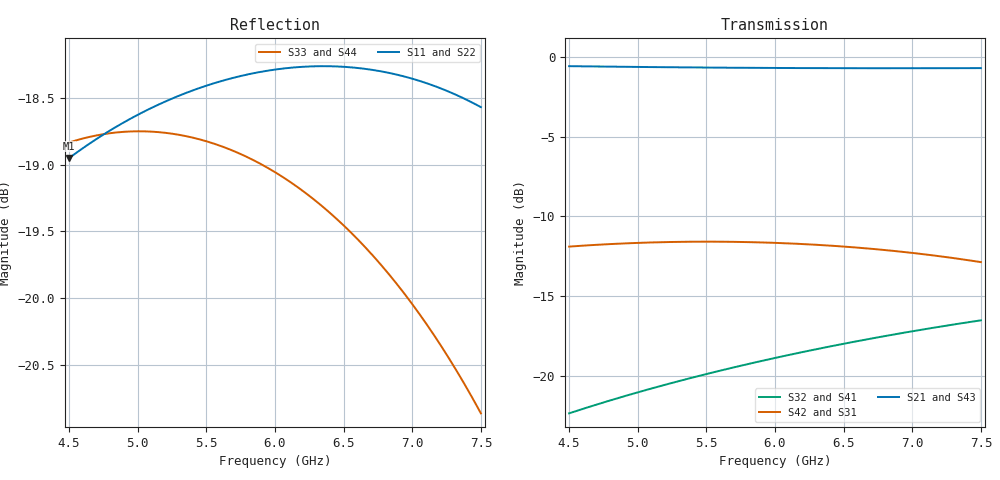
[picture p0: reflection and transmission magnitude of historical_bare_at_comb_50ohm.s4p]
! Historical bare coupler, fitted EM network; reference planes at comb connections.
! No capacitors included. Port order 1 input, 2 through, 3 coupled, 4 isolated.
# Hz S RI R 50
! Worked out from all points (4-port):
!   601 points, 4.5 GHz to 7.5 GHz, reference 50 ohm
!   strongest paths, dB at 4.5 GHz, 5.25 GHz, 6 GHz, 6.75 GHz, 7.5 GHz:
!     S21: -0.6, -0.7, -0.7, -0.7, -0.7
!     S43: -0.6, -0.7, -0.7, -0.7, -0.7
!     S42: -11.9, -11.6, -11.7, -12.1, -12.9
!     S31: -11.9, -11.6, -11.7, -12.1, -12.9
!     S32: -22.3, -20.4, -18.9, -17.6, -16.5
!     S41: -22.4, -20.5, -18.9, -17.6, -16.6
!   lowest |S11| = -19.0 dB at 4.5 GHz (marker M1), VSWR 1.25, Z = 39.9 - j1.26 ohm
!   |S11| at or under -10 dB: start of sweep to end of sweep
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4.5e9  -0.1118 -0.0155  -0.0399 -0.9336  0.2534 -0.0195  -0.0724 -0.0223
       -0.0399 -0.9336  -0.1116 -0.0128  -0.073 -0.0224  0.2534 -0.0206
       0.2534 -0.0195  -0.073 -0.0224  -0.1143 0.00442  -0.1747 -0.916
       -0.0724 -0.0223  0.2534 -0.0206  -0.1747 -0.9162  -0.1149 0.00297
5.175e9  -0.118 0.00787  -0.2526 -0.8926  0.25 -0.0796  -0.0925 0.000245
         -0.2526 -0.8926  -0.1172 0.0113  -0.0932 0.000395  0.2496 -0.0811
         0.25 -0.0796  -0.0932 0.000395  -0.1115 0.0297  -0.3972 -0.8366
         -0.0925 0.000244  0.2496 -0.0811  -0.3972 -0.8367  -0.1125 0.0283
5.885e9  -0.1167 0.0338  -0.4586 -0.8009  0.2233 -0.1371  -0.1046 0.0349
         -0.4586 -0.8009  -0.1148 0.0377  -0.1052 0.0353  0.2224 -0.1387
         0.2233 -0.1371  -0.1052 0.0353  -0.0992 0.0527  -0.6015 -0.6986
         -0.1046 0.0349  0.2224 -0.1387  -0.6016 -0.6987  -0.1006 0.0516
6.315e9  -0.1118 0.0492  -0.5707 -0.7233  0.1972 -0.1652  -0.1051 0.0595
         -0.5707 -0.7233  -0.109 0.0532  -0.1056 0.0602  0.1959 -0.1668
         0.1972 -0.1652  -0.1056 0.0602  -0.088 0.0635  -0.7056 -0.5914
         -0.1051 0.0595  0.196 -0.1668  -0.7057 -0.5916  -0.0895 0.0627
6.725e9  -0.1042 0.063  -0.6665 -0.6352  0.1671 -0.1854  -0.1 0.0842
         -0.6665 -0.6352  -0.1006 0.0668  -0.1004 0.085  0.1654 -0.187
         0.1671 -0.1854  -0.1003 0.085  -0.0754 0.071  -0.7883 -0.4751
         -0.1 0.0842  0.1655 -0.187  -0.7884 -0.4752  -0.0768 0.0705
7.12e9  -0.0943 0.0747  -0.747 -0.5384  0.1348 -0.1978  -0.0895 0.1077
        -0.747 -0.5384  -0.09 0.0783  -0.0897 0.1085  0.1328 -0.1993
        0.1348 -0.1978  -0.0897 0.1085  -0.0621 0.0752  -0.8509 -0.3519
        -0.0895 0.1077  0.1328 -0.1993  -0.851 -0.352  -0.0633 0.0751
7.5e9  -0.0828 0.0839  -0.812 -0.4357  0.1023 -0.2027  -0.0743 0.1287
       -0.812 -0.4357  -0.0778 0.0872  -0.0742 0.1296  0.0999 -0.2041
       0.1023 -0.2027  -0.0742 0.1296  -0.0488 0.0762  -0.8937 -0.2254
       -0.0743 0.1287  0.0999 -0.2041  -0.8938 -0.2254  -0.0498 0.0764
